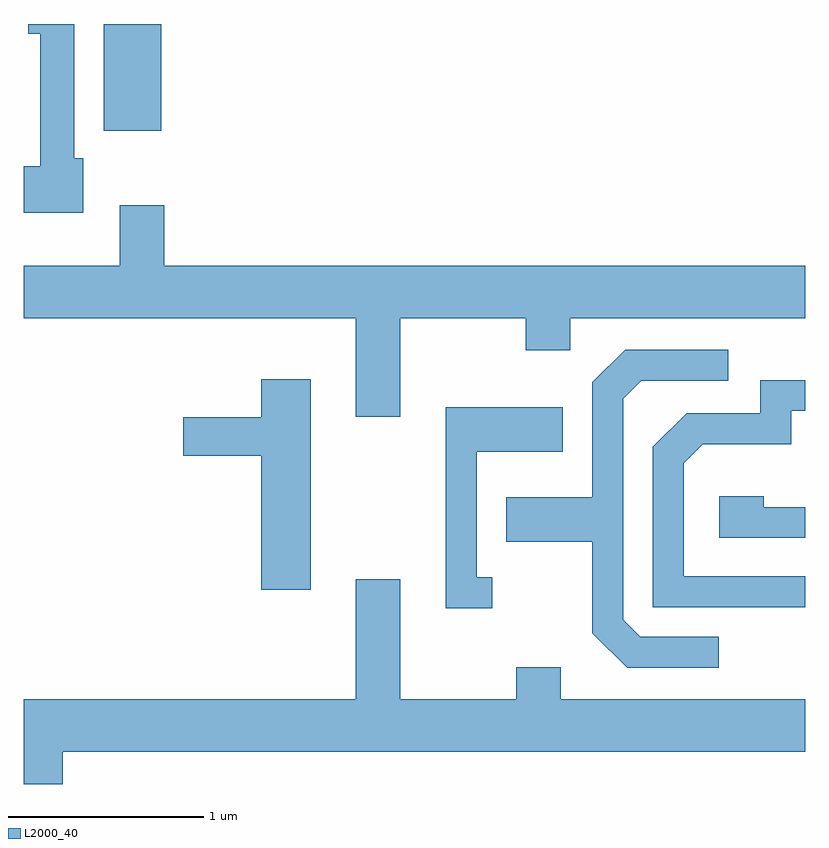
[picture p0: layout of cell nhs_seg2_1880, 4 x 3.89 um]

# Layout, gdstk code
import gdstk
lib = gdstk.Library(unit=1e-6, precision=1e-09)
def R(c, l, rs):  # rectangles x0, y0, x1, y1
    for r in rs: c.add(gdstk.rectangle(r[:2], r[2:], *l))
def P(c, l, *ps):  # polygons
    for p in ps: c.add(gdstk.Polygon(p, *l))
L2000_40 = (2000, 40)

nhs_seg2_1880 = lib.new_cell('nhs_seg2_1880')
R(nhs_seg2_1880, L2000_40, [(240.021,1069.256,240.314,1069.802)])
P(nhs_seg2_1880, L2000_40, [(239.914,1069.114),(239.869,1069.114),(239.869,1069.802),(239.633,1069.802),(239.633,1069.751),(239.696,1069.751),(239.696,1069.074),(239.611,1069.074),(239.611,1068.836),(239.914,1068.836)],
  [(241.539,1068.296),(242.181,1068.296),(242.181,1068.131),(242.409,1068.131),(242.409,1068.296),(243.611,1068.296),(243.611,1068.564),(240.329,1068.564),(240.329,1068.874),(240.101,1068.874),(240.101,1068.564),(239.611,1068.564),(239.611,1068.296),(241.311,1068.296),(241.311,1067.791),(241.539,1067.791)],
  [(243.168,1066.664),(242.767,1066.664),(242.679,1066.752),(242.679,1067.884),(242.772,1067.976),(243.218,1067.976),(243.218,1068.134),(242.689,1068.134),(242.521,1067.967),(242.521,1067.379),(242.081,1067.379),(242.081,1067.151),(242.521,1067.151),(242.521,1066.684),(242.699,1066.506),(243.168,1066.506)],
  [(241.079,1067.984),(240.826,1067.984),(240.826,1067.789),(240.426,1067.789),(240.426,1067.591),(240.826,1067.591),(240.826,1066.906),(241.079,1066.906)],
  [(243.611,1066.974),(242.989,1066.974),(242.989,1067.554),(243.087,1067.651),(243.539,1067.651),(243.539,1067.821),(243.611,1067.821),(243.611,1067.979),(243.381,1067.979),(243.381,1067.809),(243.004,1067.809),(242.831,1067.637),(242.831,1066.816),(243.611,1066.816)],
  [(242.008,1066.969),(241.929,1066.969),(241.929,1067.611),(242.369,1067.611),(242.369,1067.839),(241.771,1067.839),(241.771,1066.811),(242.008,1066.811)],
  [(243.611,1067.329),(243.399,1067.329),(243.399,1067.384),(243.171,1067.384),(243.171,1067.171),(243.611,1067.171)],
  [(239.809,1066.076),(243.611,1066.076),(243.611,1066.344),(242.359,1066.344),(242.359,1066.509),(242.131,1066.509),(242.131,1066.344),(241.539,1066.344),(241.539,1066.959),(241.311,1066.959),(241.311,1066.344),(239.611,1066.344),(239.611,1065.911),(239.809,1065.911)])

lib.write_gds('nhs_seg2_1880.gds')
